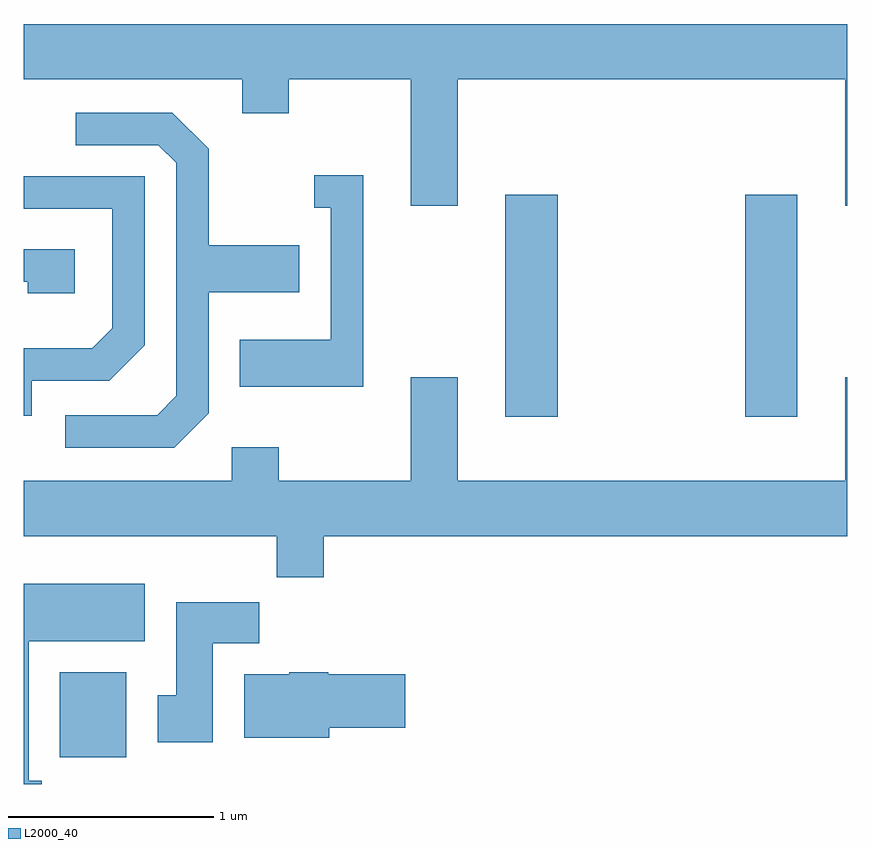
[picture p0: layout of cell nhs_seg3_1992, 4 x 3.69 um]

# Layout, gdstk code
import gdstk
lib = gdstk.Library(unit=1e-6, precision=1e-09)
def R(c, l, rs):  # rectangles x0, y0, x1, y1
    for r in rs: c.add(gdstk.rectangle(r[:2], r[2:], *l))
def P(c, l, *ps):  # polygons
    for p in ps: c.add(gdstk.Polygon(p, *l))
L2000_40 = (2000, 40)

nhs_seg3_1992 = lib.new_cell('nhs_seg3_1992')
R(nhs_seg3_1992, L2000_40, [(243.786,1156.021,244.109,1156.434), (245.951,1157.676,246.204,1158.754), (247.116,1157.676,247.369,1158.754)])
P(nhs_seg3_1992, L2000_40, [(245.719,1159.316),(247.601,1159.316),(247.601,1158.701),(247.611,1158.701),(247.611,1159.584),(243.611,1159.584),(243.611,1159.316),(244.671,1159.316),(244.671,1159.151),(244.899,1159.151),(244.899,1159.316),(245.491,1159.316),(245.491,1158.701),(245.719,1158.701)],
  [(244.509,1157.694),(244.509,1158.281),(244.949,1158.281),(244.949,1158.509),(244.509,1158.509),(244.509,1158.977),(244.332,1159.154),(243.863,1159.154),(243.863,1158.996),(244.264,1158.996),(244.351,1158.909),(244.351,1157.777),(244.259,1157.684),(243.813,1157.684),(243.813,1157.526),(244.342,1157.526)],
  [(245.259,1158.849),(245.023,1158.849),(245.023,1158.691),(245.101,1158.691),(245.101,1158.049),(244.661,1158.049),(244.661,1157.821),(245.259,1157.821)],
  [(243.649,1157.851),(244.027,1157.851),(244.199,1158.024),(244.199,1158.844),(243.611,1158.844),(243.611,1158.686),(244.041,1158.686),(244.041,1158.107),(243.944,1158.009),(243.611,1158.009),(243.611,1157.681),(243.649,1157.681)],
  [(243.859,1158.489),(243.611,1158.489),(243.611,1158.331),(243.631,1158.331),(243.631,1158.276),(243.859,1158.276)],
  [(245.069,1157.096),(247.611,1157.096),(247.611,1157.869),(247.601,1157.869),(247.601,1157.364),(245.719,1157.364),(245.719,1157.869),(245.491,1157.869),(245.491,1157.364),(244.849,1157.364),(244.849,1157.529),(244.621,1157.529),(244.621,1157.364),(243.611,1157.364),(243.611,1157.096),(244.841,1157.096),(244.841,1156.896),(245.069,1156.896)],
  [(243.698,1155.909),(243.634,1155.909),(243.634,1156.586),(244.199,1156.586),(244.199,1156.864),(243.611,1156.864),(243.611,1155.892),(243.698,1155.892)],
  [(244.529,1156.576),(244.754,1156.576),(244.754,1156.774),(244.351,1156.774),(244.351,1156.324),(244.261,1156.324),(244.261,1156.096),(244.529,1156.096)],
  [(245.094,1156.166),(245.464,1156.166),(245.464,1156.424),(245.09,1156.424),(245.09,1156.434),(244.9,1156.434),(244.9,1156.424),(244.681,1156.424),(244.681,1156.116),(245.094,1156.116)])

lib.write_gds('nhs_seg3_1992.gds')
